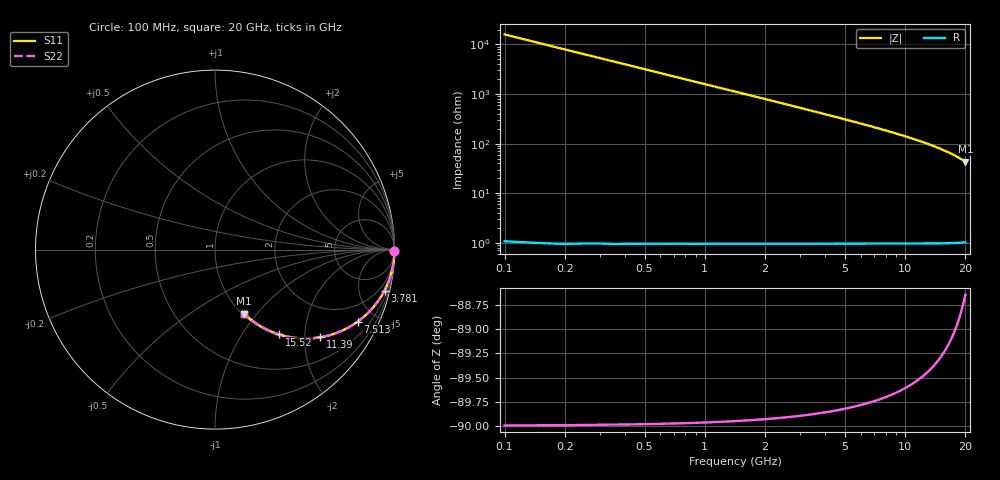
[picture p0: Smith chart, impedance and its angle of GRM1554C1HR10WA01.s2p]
!Murata Part Number: GRM1554C1HR10WA01
!These Parameters are Measured in Series Mode Connection
!Data Generated on Mar 30, 2021
!  o--ll--o
!Port1  Port2
!  o------o
!Operation Temp=25[degC], DC Bias Voltage=0[V]
!Freq. Start=100[MHz] Stop=20[GHz] 401[Steps]
# Hz S RI R 50
!Freq.(Hz) S11(Real) S11(Imag) S21(Real) S21(Imag) S12(Real) S12(Imag) S22(Real) S22(Imag)
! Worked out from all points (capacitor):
!   401 points, 100 MHz to 20 GHz, reference 50 ohm
!   read as one part in series: C = 100 fF near 199.5 MHz
!   lowest |Z| = 43 ohm at 20 GHz (marker M1)
!   S11 on the Smith chart (normalised r, x): 100 MHz: open; 3.781 GHz: 1.02, -8.28; 7.513 GHz: 1.02, -3.96; 11.39 GHz: 1.02, -2.38; 15.52 GHz: 1.02, -1.48; 20 GHz: 1.02, -0.86
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1e8  1 -0.00628  3.99e-05 0.00628  3.99e-05 0.00628  1 -0.00628
1.4975e8  0.9999 -0.00941  8.94e-05 0.00941  8.94e-05 0.00941  0.9999 -0.00941
2.4925e8  0.9998 -0.0157  0.000248 0.0157  0.000248 0.0157  0.9998 -0.0157
2.99e8  0.9996 -0.0188  0.000356 0.0188  0.000356 0.0188  0.9996 -0.0188
4.4825e8  0.9992 -0.0281  0.0008 0.0281  0.0008 0.0281  0.9992 -0.0281
5.4775e8  0.9988 -0.0344  0.0012 0.0344  0.0012 0.0344  0.9988 -0.0344
6.97e8  0.9981 -0.0437  0.00193 0.0437  0.00193 0.0437  0.9981 -0.0437
9.955e8  0.9961 -0.0624  0.00394 0.0624  0.00394 0.0624  0.9961 -0.0624
1.44325e9  0.9917 -0.0901  0.00827 0.0901  0.00827 0.0901  0.9917 -0.0901
1.9905e9  0.9843 -0.1236  0.0157 0.1236  0.0157 0.1236  0.9843 -0.1236
2.63725e9  0.9726 -0.1624  0.0274 0.1624  0.0274 0.1624  0.9726 -0.1624
3.43325e9  0.954 -0.2085  0.046 0.2085  0.046 0.2085  0.954 -0.2085
3.7815e9  0.9444 -0.228  0.0556 0.228  0.0556 0.228  0.9444 -0.228
5.12475e9  0.9 -0.2985  0.1 0.2985  0.1 0.2985  0.9 -0.2985
6.7665e9  0.8313 -0.3723  0.1687 0.3723  0.1687 0.3723  0.8313 -0.3723
7.51275e9  0.7958 -0.4007  0.2042 0.4007  0.2042 0.4007  0.7958 -0.4007
1.005e10  0.6612 -0.4699  0.3388 0.4699  0.3388 0.4699  0.6612 -0.4699
1.139325e10  0.585 -0.4887  0.415 0.4887  0.415 0.4887  0.585 -0.4887
1.338325e10  0.4719 -0.4941  0.5281 0.4941  0.5281 0.4941  0.4719 -0.4941
1.55225e10  0.3567 -0.4725  0.6433 0.4725  0.6433 0.4725  0.3567 -0.4725
1.67165e10  0.2976 -0.4497  0.7024 0.4497  0.7024 0.4497  0.2976 -0.4497
2e10  0.1617 -0.3565  0.8383 0.3565  0.8383 0.3565  0.1617 -0.3565
